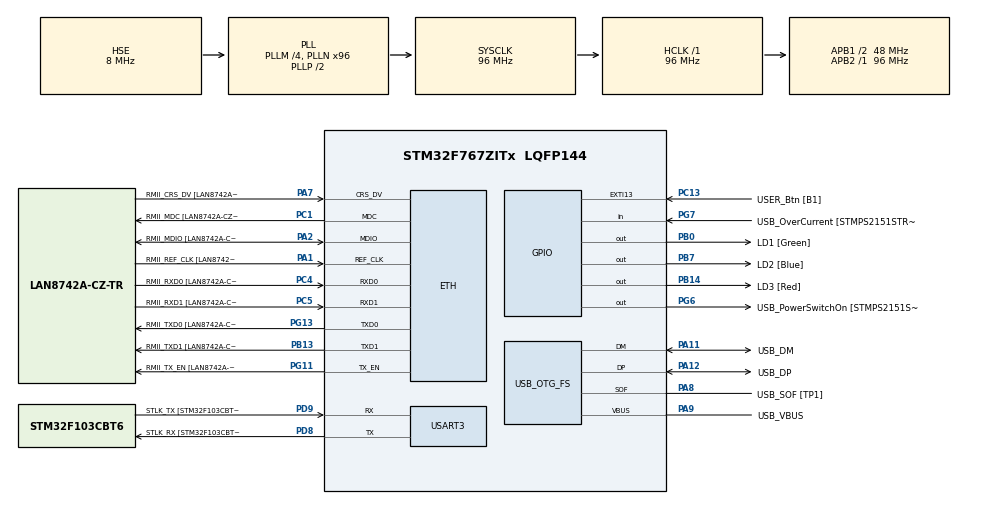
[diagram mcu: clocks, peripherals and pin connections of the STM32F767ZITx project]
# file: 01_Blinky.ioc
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ETH.MediaInterface=HAL_ETH_RMII_MODE
ETH.PHY_Name=LAN8742A_PHY_ADDRESS
ETH.PHY_Value=0
ETH.PhyAddress=0
Mcu.Family=STM32F7
Mcu.Name=STM32F767ZITx
Mcu.Package=LQFP144
NVIC.PriorityGroup=NVIC_PRIORITYGROUP_4
PA1.GPIO_Label=RMII_REF_CLK [LAN8742A-CZ-TR_REFCLK0]
PA1.Mode=RMII
PA1.Signal=ETH_REF_CLK
PA10.GPIO_Label=USB_ID
PA10.Signal=USB_OTG_FS_ID
PA11.GPIO_Label=USB_DM
PA11.Mode=Device_Only
PA11.Signal=USB_OTG_FS_DM
PA12.GPIO_Label=USB_DP
PA12.Mode=Device_Only
PA12.Signal=USB_OTG_FS_DP
PA13.GPIO_Label=TMS
PA13.Mode=Serial_Wire
PA13.Signal=SYS_JTMS-SWDIO
PA14.GPIO_Label=TCK
PA14.Mode=Serial_Wire
PA14.Signal=SYS_JTCK-SWCLK
PA2.GPIO_Label=RMII_MDIO [LAN8742A-CZ-TR_MDIO]
PA2.Mode=RMII
PA2.Signal=ETH_MDIO
PA7.GPIO_Label=RMII_CRS_DV [LAN8742A-CZ-TR_CRS_DV]
PA7.Mode=RMII
PA7.Signal=ETH_CRS_DV
PA8.GPIO_Label=USB_SOF [TP1]
PA8.Mode=Activate_SOF_FS
PA8.Signal=USB_OTG_FS_SOF
PA9.GPIO_Label=USB_VBUS
PA9.Mode=Activate_VBUS
PA9.Signal=USB_OTG_FS_VBUS
PB0.GPIO_Label=LD1 [Green]
PB0.Signal=GPIO_Output
PB13.GPIO_Label=RMII_TXD1 [LAN8742A-CZ-TR_TXD1]
PB13.Mode=RMII
PB13.Signal=ETH_TXD1
PB14.GPIO_Label=LD3 [Red]
PB14.Signal=GPIO_Output
PB3.GPIO_Label=SWO
PB3.Signal=SYS_JTDO-SWO
PB7.GPIO_Label=LD2 [Blue]
PB7.Signal=GPIO_Output
PC1.GPIO_Label=RMII_MDC [LAN8742A-CZ-TR_MDC]
PC1.Mode=RMII
PC1.Signal=ETH_MDC
PC13.GPIO_Label=USER_Btn [B1]
PC13.Signal=GPXTI13
PC14/OSC32_IN.Mode=LSE-External-Oscillator
PC14/OSC32_IN.Signal=RCC_OSC32_IN
PC15/OSC32_OUT.Mode=LSE-External-Oscillator
PC15/OSC32_OUT.Signal=RCC_OSC32_OUT
PC4.GPIO_Label=RMII_RXD0 [LAN8742A-CZ-TR_RXD0]
PC4.Mode=RMII
PC4.Signal=ETH_RXD0
PC5.GPIO_Label=RMII_RXD1 [LAN8742A-CZ-TR_RXD1]
PC5.Mode=RMII
PC5.Signal=ETH_RXD1
PD8.GPIO_Label=STLK_RX [STM32F103CBT6_PA3]
PD8.Mode=Asynchronous
PD8.Signal=USART3_TX
PD9.GPIO_Label=STLK_TX [STM32F103CBT6_PA2]
PD9.Mode=Asynchronous
PD9.Signal=USART3_RX
PG11.GPIO_Label=RMII_TX_EN [LAN8742A-CZ-TR_TXEN]
PG11.Mode=RMII
PG11.Signal=ETH_TX_EN
PG13.GPIO_Label=RMII_TXD0 [LAN8742A-CZ-TR_TXD0]
PG13.Mode=RMII
PG13.Signal=ETH_TXD0
PG6.GPIO_Label=USB_PowerSwitchOn [STMPS2151STR_EN]
PG6.Signal=GPIO_Output
PG7.GPIO_Label=USB_OverCurrent [STMPS2151STR_FAULT]
PG7.Signal=GPIO_Input
PH0/OSC_IN.GPIO_Label=MCO [STM32F103CBT6_PA8]
PH0/OSC_IN.Mode=HSE-External-Clock-Source
PH0/OSC_IN.Signal=RCC_OSC_IN
PH1/OSC_OUT.Mode=HSE-External-Clock-Source
PH1/OSC_OUT.Signal=RCC_OSC_OUT
ProjectManager.HeapSize=0x200
ProjectManager.StackSize=0x400
ProjectManager.TargetToolchain=STM32CubeIDE
RCC.48MHZClocksFreq_Value=24000000
RCC.AHBFreq_Value=96000000
RCC.APB1CLKDivider=RCC_HCLK_DIV2
RCC.APB1Freq_Value=48000000
RCC.APB1TimFreq_Value=96000000
RCC.APB2Freq_Value=96000000
RCC.APB2TimFreq_Value=96000000
RCC.CortexFreq_Value=96000000
RCC.HCLKFreq_Value=96000000
RCC.HSE_VALUE=8000000
RCC.HSI_VALUE=16000000
RCC.PLLM=4
RCC.PLLMUL=RCC_PLL_MUL9
RCC.PLLN=96
RCC.PLLQ=4
RCC.PRESCALERUSB=RCC_USBCLKSOURCE_PLL_DIV1_5
RCC.SYSCLKFreq_VALUE=96000000
RCC.SYSCLKSource=RCC_SYSCLKSOURCE_PLLCLK
RCC.SYSCLKSourceVirtual=RCC_SYSCLKSOURCE_PLLCLK
RCC.USBFreq_Value=48000000
RCC.VCOOutputFreq_Value=192000000
USART3.VirtualMode-Asynchronous=VM_ASYNC
USB_OTG_FS.VirtualMode=Device_Only
board=NUCLEO-F767ZI

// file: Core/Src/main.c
/* USER CODE BEGIN Header */
/**
  ******************************************************************************
  * @file           : main.c
  * @brief          : Main program body
  ******************************************************************************
  * @attention
  *
  * Copyright (c) 2024 STMicroelectronics.
  * All rights reserved.
  *
  * This software is licensed under terms that can be found in the LICENSE file
  * in the root directory of this software component.
  * If no LICENSE file comes with this software, it is provided AS-IS.
  *
  ******************************************************************************
  */
/* USER CODE END Header */
#include "main.h"
#include "string.h"

#if defined ( __ICCARM__ ) /*!< IAR Compiler */
#pragma location=0x2007c000
ETH_DMADescTypeDef  DMARxDscrTab[ETH_RX_DESC_CNT]; /* Ethernet Rx DMA Descriptors */
#pragma location=0x2007c0a0
ETH_DMADescTypeDef  DMATxDscrTab[ETH_TX_DESC_CNT]; /* Ethernet Tx DMA Descriptors */

#elif defined ( __CC_ARM )  /* MDK ARM Compiler */

__attribute__((at(0x2007c000))) ETH_DMADescTypeDef  DMARxDscrTab[ETH_RX_DESC_CNT]; /* Ethernet Rx DMA Descriptors */
__attribute__((at(0x2007c0a0))) ETH_DMADescTypeDef  DMATxDscrTab[ETH_TX_DESC_CNT]; /* Ethernet Tx DMA Descriptors */

#elif defined ( __GNUC__ ) /* GNU Compiler */

ETH_DMADescTypeDef DMARxDscrTab[ETH_RX_DESC_CNT] __attribute__((section(".RxDecripSection"))); /* Ethernet Rx DMA Descriptors */
ETH_DMADescTypeDef DMATxDscrTab[ETH_TX_DESC_CNT] __attribute__((section(".TxDecripSection")));   /* Ethernet Tx DMA Descriptors */
#endif

ETH_TxPacketConfig TxConfig;

ETH_HandleTypeDef heth;

UART_HandleTypeDef huart3;

PCD_HandleTypeDef hpcd_USB_OTG_FS;

void SystemClock_Config(void);
static void MX_GPIO_Init(void);
static void MX_ETH_Init(void);
static void MX_USART3_UART_Init(void);
static void MX_USB_OTG_FS_PCD_Init(void);

int main(void)
{

  /* MCU Configuration--------------------------------------------------------*/

  /* Reset of all peripherals, Initializes the Flash interface and the Systick. */
  HAL_Init();

  /* Configure the system clock */
  SystemClock_Config();

  /* Initialize all configured peripherals */
  MX_GPIO_Init();
  MX_ETH_Init();
  MX_USART3_UART_Init();
  MX_USB_OTG_FS_PCD_Init();

  /* Infinite loop */
  while (1)
  {

    /* USER CODE BEGIN 3 */
#if 0
	  //Green LED.
	  HAL_GPIO_WritePin(LD1_GPIO_Port, LD1_Pin, 1);
	  HAL_Delay(108);
	  HAL_GPIO_WritePin(LD1_GPIO_Port, LD1_Pin, 0);
	  HAL_Delay(108);
	  //Blue LED.
	  HAL_GPIO_WritePin(LD2_GPIO_Port, LD2_Pin, 1);
	  HAL_Delay(108);
	  HAL_GPIO_WritePin(LD2_GPIO_Port, LD2_Pin, 0);
	  HAL_Delay(108);
	  //Red LED.
	  HAL_GPIO_WritePin(LD3_GPIO_Port, LD3_Pin, 1);
	  HAL_Delay(108);
	  HAL_GPIO_WritePin(LD3_GPIO_Port, LD3_Pin, 0);
	  HAL_Delay(108);
#endif
#if 1
	  //Green LED.
	  HAL_GPIO_TogglePin(LD1_GPIO_Port, LD1_Pin);
	  HAL_Delay(108);
	  //Blue LED.
	  HAL_GPIO_TogglePin(LD2_GPIO_Port, LD2_Pin);
	  HAL_Delay(108);
	  //Red LED.
	  HAL_GPIO_TogglePin(LD3_GPIO_Port, LD3_Pin);
	  HAL_Delay(108);
#endif

  }
  /* USER CODE END 3 */
}

void SystemClock_Config(void)
{
  RCC_OscInitTypeDef RCC_OscInitStruct = {0};
  RCC_ClkInitTypeDef RCC_ClkInitStruct = {0};

  /** Configure LSE Drive Capability
  */
  HAL_PWR_EnableBkUpAccess();

  /** Configure the main internal regulator output voltage
  */
  __HAL_RCC_PWR_CLK_ENABLE();
  __HAL_PWR_VOLTAGESCALING_CONFIG(PWR_REGULATOR_VOLTAGE_SCALE3);

  /** Initializes the RCC Oscillators according to the specified parameters
  * in the RCC_OscInitTypeDef structure.
  */
  RCC_OscInitStruct.OscillatorType = RCC_OSCILLATORTYPE_HSE;
  RCC_OscInitStruct.HSEState = RCC_HSE_BYPASS;
  RCC_OscInitStruct.PLL.PLLState = RCC_PLL_ON;
  RCC_OscInitStruct.PLL.PLLSource = RCC_PLLSOURCE_HSE;
  RCC_OscInitStruct.PLL.PLLM = 4;
  RCC_OscInitStruct.PLL.PLLN = 96;
  RCC_OscInitStruct.PLL.PLLP = RCC_PLLP_DIV2;
  RCC_OscInitStruct.PLL.PLLQ = 4;
  RCC_OscInitStruct.PLL.PLLR = 2;
  if (HAL_RCC_OscConfig(&RCC_OscInitStruct) != HAL_OK)
  {
    Error_Handler();
  }

  /** Activate the Over-Drive mode
  */
  if (HAL_PWREx_EnableOverDrive() != HAL_OK)
  {
    Error_Handler();
  }

  /** Initializes the CPU, AHB and APB buses clocks
  */
  RCC_ClkInitStruct.ClockType = RCC_CLOCKTYPE_HCLK|RCC_CLOCKTYPE_SYSCLK
                              |RCC_CLOCKTYPE_PCLK1|RCC_CLOCKTYPE_PCLK2;
  RCC_ClkInitStruct.SYSCLKSource = RCC_SYSCLKSOURCE_PLLCLK;
  RCC_ClkInitStruct.AHBCLKDivider = RCC_SYSCLK_DIV1;
  RCC_ClkInitStruct.APB1CLKDivider = RCC_HCLK_DIV2;
  RCC_ClkInitStruct.APB2CLKDivider = RCC_HCLK_DIV1;

  if (HAL_RCC_ClockConfig(&RCC_ClkInitStruct, FLASH_LATENCY_3) != HAL_OK)
  {
    Error_Handler();
  }
}

static void MX_ETH_Init(void)
{

   static uint8_t MACAddr[6];

  heth.Instance = ETH;
  MACAddr[0] = 0x00;
  MACAddr[1] = 0x80;
  MACAddr[2] = 0xE1;
  MACAddr[3] = 0x00;
  MACAddr[4] = 0x00;
  MACAddr[5] = 0x00;
  heth.Init.MACAddr = &MACAddr[0];
  heth.Init.MediaInterface = HAL_ETH_RMII_MODE;
  heth.Init.TxDesc = DMATxDscrTab;
  heth.Init.RxDesc = DMARxDscrTab;
  heth.Init.RxBuffLen = 1524;

  if (HAL_ETH_Init(&heth) != HAL_OK)
  {
    Error_Handler();
  }

  memset(&TxConfig, 0 , sizeof(ETH_TxPacketConfig));
  TxConfig.Attributes = ETH_TX_PACKETS_FEATURES_CSUM | ETH_TX_PACKETS_FEATURES_CRCPAD;
  TxConfig.ChecksumCtrl = ETH_CHECKSUM_IPHDR_PAYLOAD_INSERT_PHDR_CALC;
  TxConfig.CRCPadCtrl = ETH_CRC_PAD_INSERT;

}

static void MX_USART3_UART_Init(void)
{

  huart3.Instance = USART3;
  huart3.Init.BaudRate = 115200;
  huart3.Init.WordLength = UART_WORDLENGTH_8B;
  huart3.Init.StopBits = UART_STOPBITS_1;
  huart3.Init.Parity = UART_PARITY_NONE;
  huart3.Init.Mode = UART_MODE_TX_RX;
  huart3.Init.HwFlowCtl = UART_HWCONTROL_NONE;
  huart3.Init.OverSampling = UART_OVERSAMPLING_16;
  huart3.Init.OneBitSampling = UART_ONE_BIT_SAMPLE_DISABLE;
  huart3.AdvancedInit.AdvFeatureInit = UART_ADVFEATURE_NO_INIT;
  if (HAL_UART_Init(&huart3) != HAL_OK)
  {
    Error_Handler();
  }

}

static void MX_USB_OTG_FS_PCD_Init(void)
{

  hpcd_USB_OTG_FS.Instance = USB_OTG_FS;
  hpcd_USB_OTG_FS.Init.dev_endpoints = 6;
  hpcd_USB_OTG_FS.Init.speed = PCD_SPEED_FULL;
  hpcd_USB_OTG_FS.Init.dma_enable = DISABLE;
  hpcd_USB_OTG_FS.Init.phy_itface = PCD_PHY_EMBEDDED;
  hpcd_USB_OTG_FS.Init.Sof_enable = ENABLE;
  hpcd_USB_OTG_FS.Init.low_power_enable = DISABLE;
  hpcd_USB_OTG_FS.Init.lpm_enable = DISABLE;
  hpcd_USB_OTG_FS.Init.vbus_sensing_enable = ENABLE;
  hpcd_USB_OTG_FS.Init.use_dedicated_ep1 = DISABLE;
  if (HAL_PCD_Init(&hpcd_USB_OTG_FS) != HAL_OK)
  {
    Error_Handler();
  }

}

static void MX_GPIO_Init(void)
{
  GPIO_InitTypeDef GPIO_InitStruct = {0};

  /* GPIO Ports Clock Enable */
  __HAL_RCC_GPIOC_CLK_ENABLE();
  __HAL_RCC_GPIOH_CLK_ENABLE();
  __HAL_RCC_GPIOA_CLK_ENABLE();
  __HAL_RCC_GPIOB_CLK_ENABLE();
  __HAL_RCC_GPIOD_CLK_ENABLE();
  __HAL_RCC_GPIOG_CLK_ENABLE();

  /*Configure GPIO pin Output Level */
  HAL_GPIO_WritePin(GPIOB, LD1_Pin|LD3_Pin|LD2_Pin, GPIO_PIN_RESET);

  /*Configure GPIO pin Output Level */
  HAL_GPIO_WritePin(USB_PowerSwitchOn_GPIO_Port, USB_PowerSwitchOn_Pin, GPIO_PIN_RESET);

  /*Configure GPIO pin : USER_Btn_Pin */
  GPIO_InitStruct.Pin = USER_Btn_Pin;
  GPIO_InitStruct.Mode = GPIO_MODE_IT_RISING;
  GPIO_InitStruct.Pull = GPIO_NOPULL;
  HAL_GPIO_Init(USER_Btn_GPIO_Port, &GPIO_InitStruct);

  /*Configure GPIO pins : LD1_Pin LD3_Pin LD2_Pin */
  GPIO_InitStruct.Pin = LD1_Pin|LD3_Pin|LD2_Pin;
  GPIO_InitStruct.Mode = GPIO_MODE_OUTPUT_PP;
  GPIO_InitStruct.Pull = GPIO_NOPULL;
  GPIO_InitStruct.Speed = GPIO_SPEED_FREQ_LOW;
  HAL_GPIO_Init(GPIOB, &GPIO_InitStruct);

  /*Configure GPIO pin : USB_PowerSwitchOn_Pin */
  GPIO_InitStruct.Pin = USB_PowerSwitchOn_Pin;
  GPIO_InitStruct.Mode = GPIO_MODE_OUTPUT_PP;
  GPIO_InitStruct.Pull = GPIO_NOPULL;
  GPIO_InitStruct.Speed = GPIO_SPEED_FREQ_LOW;
  HAL_GPIO_Init(USB_PowerSwitchOn_GPIO_Port, &GPIO_InitStruct);

  /*Configure GPIO pin : USB_OverCurrent_Pin */
  GPIO_InitStruct.Pin = USB_OverCurrent_Pin;
  GPIO_InitStruct.Mode = GPIO_MODE_INPUT;
  GPIO_InitStruct.Pull = GPIO_NOPULL;
  HAL_GPIO_Init(USB_OverCurrent_GPIO_Port, &GPIO_InitStruct);

}

void Error_Handler(void)
{
  __disable_irq();
  while (1)
  {
  }
}
